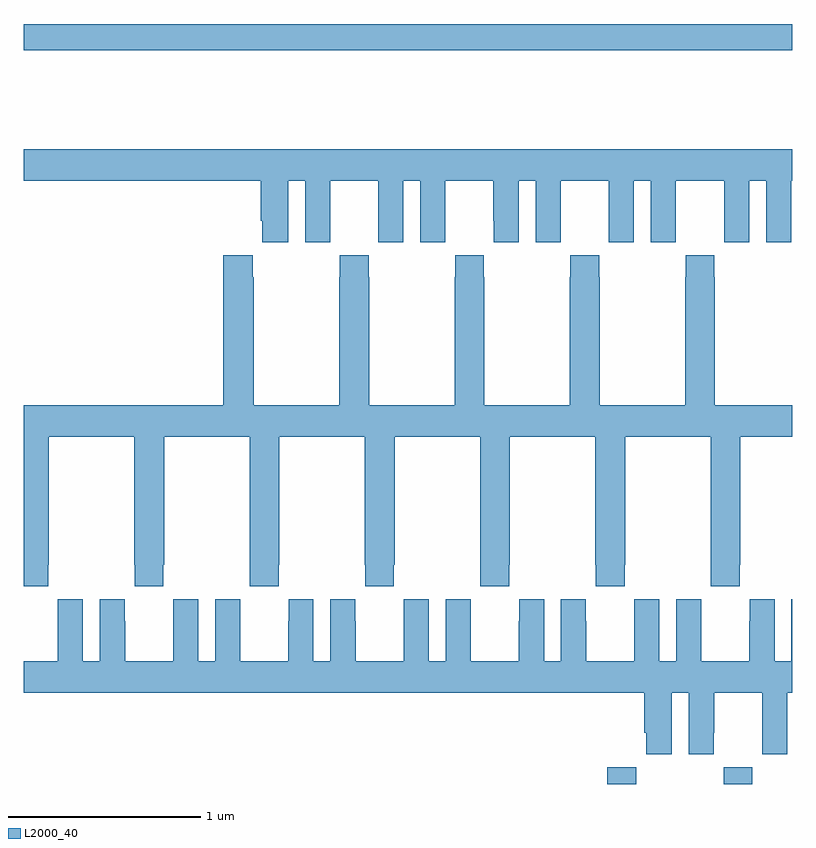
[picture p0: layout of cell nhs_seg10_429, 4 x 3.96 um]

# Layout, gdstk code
import gdstk
lib = gdstk.Library(unit=1e-6, precision=1e-09)
def R(c, l, rs):  # rectangles x0, y0, x1, y1
    for r in rs: c.add(gdstk.rectangle(r[:2], r[2:], *l))
def P(c, l, *ps):  # polygons
    for p in ps: c.add(gdstk.Polygon(p, *l))
L2000_40 = (2000, 40)

nhs_seg10_429 = lib.new_cell('nhs_seg10_429')
R(nhs_seg10_429, L2000_40, [(134.036,1306.5,134.189,1306.588), (134.643,1306.5,134.793,1306.588), (131,1310.32,135,1310.456)])
P(nhs_seg10_429, L2000_40, [(131,1309.64),(132.233,1309.64),(132.233,1309.432),(132.242,1309.432),(132.242,1309.32),(132.376,1309.32),(132.376,1309.64),(132.464,1309.64),(132.464,1309.32),(132.594,1309.32),(132.594,1309.432),(132.595,1309.432),(132.595,1309.64),(132.845,1309.64),(132.845,1309.432),(132.846,1309.432),(132.846,1309.32),(132.976,1309.32),(132.976,1309.64),(133.064,1309.64),(133.064,1309.32),(133.194,1309.32),(133.194,1309.432),(133.195,1309.432),(133.195,1309.64),(133.445,1309.64),(133.445,1309.432),(133.446,1309.432),(133.446,1309.32),(133.576,1309.32),(133.576,1309.64),(133.664,1309.64),(133.664,1309.32),(133.794,1309.32),(133.794,1309.432),(133.795,1309.432),(133.795,1309.64),(134.045,1309.64),(134.045,1309.432),(134.046,1309.432),(134.046,1309.32),(134.176,1309.32),(134.176,1309.64),(134.264,1309.64),(134.264,1309.32),(134.394,1309.32),(134.394,1309.432),(134.395,1309.432),(134.395,1309.64),(134.645,1309.64),(134.645,1309.432),(134.646,1309.432),(134.646,1309.32),(134.776,1309.32),(134.776,1309.64),(134.864,1309.64),(134.864,1309.32),(134.994,1309.32),(134.994,1309.432),(134.995,1309.432),(134.995,1309.64),(135,1309.64),(135,1309.804),(131,1309.804)],
  [(131.127,1307.641),(131.13,1307.641),(131.13,1308.308),(131.575,1308.308),(131.575,1307.641),(131.577,1307.641),(131.577,1307.529),(131.727,1307.529),(131.727,1307.641),(131.73,1307.641),(131.73,1308.308),(132.175,1308.308),(132.175,1307.641),(132.177,1307.641),(132.177,1307.529),(132.327,1307.529),(132.327,1307.641),(132.33,1307.641),(132.33,1308.308),(132.775,1308.308),(132.775,1307.641),(132.777,1307.641),(132.777,1307.529),(132.927,1307.529),(132.927,1307.641),(132.93,1307.641),(132.93,1308.308),(133.375,1308.308),(133.375,1307.641),(133.377,1307.641),(133.377,1307.529),(133.527,1307.529),(133.527,1307.641),(133.53,1307.641),(133.53,1308.308),(133.975,1308.308),(133.975,1307.641),(133.977,1307.641),(133.977,1307.529),(134.127,1307.529),(134.127,1307.641),(134.13,1307.641),(134.13,1308.308),(134.575,1308.308),(134.575,1307.641),(134.577,1307.641),(134.577,1307.529),(134.727,1307.529),(134.727,1307.641),(134.73,1307.641),(134.73,1308.308),(135,1308.308),(135,1308.472),(134.598,1308.472),(134.598,1309.139),(134.595,1309.139),(134.595,1309.252),(134.445,1309.252),(134.445,1309.139),(134.443,1309.139),(134.443,1308.472),(133.998,1308.472),(133.998,1309.139),(133.995,1309.139),(133.995,1309.252),(133.845,1309.252),(133.845,1309.139),(133.843,1309.139),(133.843,1308.472),(133.398,1308.472),(133.398,1309.139),(133.395,1309.139),(133.395,1309.252),(133.245,1309.252),(133.245,1309.139),(133.243,1309.139),(133.243,1308.472),(132.798,1308.472),(132.798,1309.139),(132.795,1309.139),(132.795,1309.252),(132.645,1309.252),(132.645,1309.139),(132.643,1309.139),(132.643,1308.472),(132.198,1308.472),(132.198,1309.139),(132.191,1309.139),(132.191,1309.252),(132.038,1309.252),(132.038,1308.472),(131,1308.472),(131,1307.529),(131.127,1307.529)],
  [(134.843,1306.768),(134.844,1306.768),(134.844,1306.656),(134.974,1306.656),(134.974,1306.976),(135,1306.976),(135,1307.461),(134.996,1307.461),(134.996,1307.14),(134.908,1307.14),(134.908,1307.461),(134.778,1307.461),(134.778,1307.348),(134.777,1307.348),(134.777,1307.14),(134.527,1307.14),(134.527,1307.348),(134.526,1307.348),(134.526,1307.461),(134.396,1307.461),(134.396,1307.14),(134.308,1307.14),(134.308,1307.461),(134.178,1307.461),(134.178,1307.348),(134.177,1307.348),(134.177,1307.14),(133.927,1307.14),(133.927,1307.348),(133.926,1307.348),(133.926,1307.461),(133.796,1307.461),(133.796,1307.14),(133.708,1307.14),(133.708,1307.461),(133.578,1307.461),(133.578,1307.348),(133.577,1307.348),(133.577,1307.14),(133.327,1307.14),(133.327,1307.348),(133.326,1307.348),(133.326,1307.461),(133.196,1307.461),(133.196,1307.14),(133.108,1307.14),(133.108,1307.461),(132.978,1307.461),(132.978,1307.348),(132.977,1307.348),(132.977,1307.14),(132.727,1307.14),(132.727,1307.348),(132.726,1307.348),(132.726,1307.461),(132.596,1307.461),(132.596,1307.14),(132.508,1307.14),(132.508,1307.461),(132.378,1307.461),(132.378,1307.348),(132.377,1307.348),(132.377,1307.14),(132.127,1307.14),(132.127,1307.348),(132.126,1307.348),(132.126,1307.461),(131.996,1307.461),(131.996,1307.14),(131.908,1307.14),(131.908,1307.461),(131.778,1307.461),(131.778,1307.348),(131.777,1307.348),(131.777,1307.14),(131.527,1307.14),(131.527,1307.348),(131.526,1307.348),(131.526,1307.461),(131.396,1307.461),(131.396,1307.14),(131.308,1307.14),(131.308,1307.461),(131.178,1307.461),(131.178,1307.348),(131.177,1307.348),(131.177,1307.14),(131,1307.14),(131,1306.976),(134.231,1306.976),(134.231,1306.768),(134.24,1306.768),(134.24,1306.656),(134.374,1306.656),(134.374,1306.976),(134.462,1306.976),(134.462,1306.656),(134.592,1306.656),(134.592,1306.768),(134.593,1306.768),(134.593,1306.976),(134.843,1306.976)])

lib.write_gds('nhs_seg10_429.gds')
